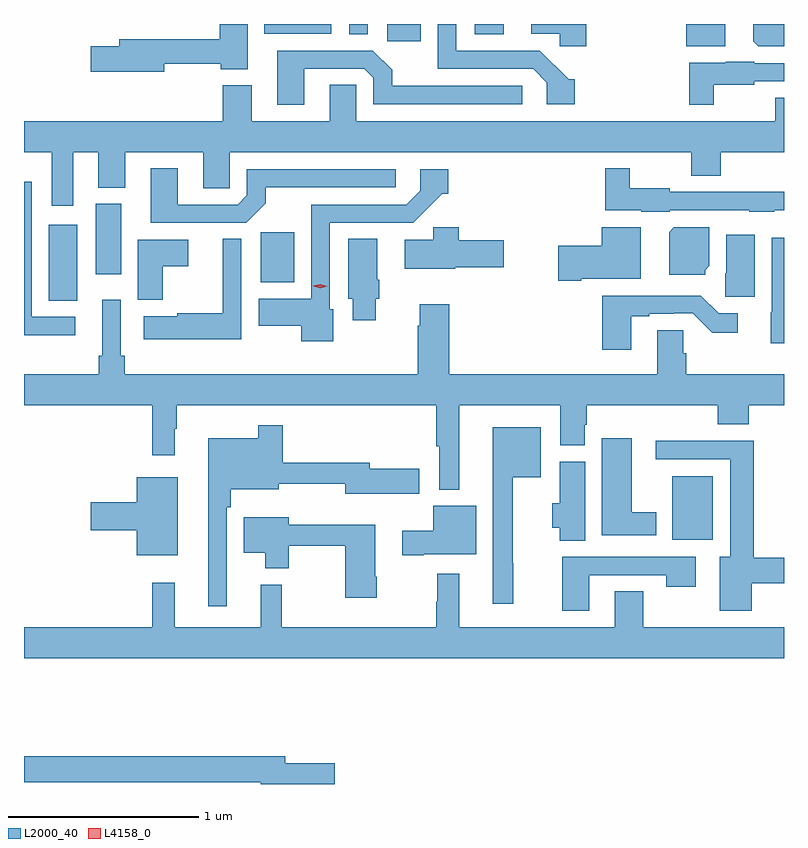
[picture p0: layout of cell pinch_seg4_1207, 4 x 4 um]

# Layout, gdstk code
import gdstk
lib = gdstk.Library(unit=1e-6, precision=1e-09)
def R(c, l, rs):  # rectangles x0, y0, x1, y1
    for r in rs: c.add(gdstk.rectangle(r[:2], r[2:], *l))
def P(c, l, *ps):  # polygons
    for p in ps: c.add(gdstk.Polygon(p, *l))
L2000_40 = (2000, 40)
L4158_0 = (4158, 0)

pinch_seg4_1207 = lib.new_cell('pinch_seg4_1207')
R(pinch_seg4_1207, L2000_40, [(316.916,806.768,317.128,807.103), (313.634,808.027,313.783,808.426), (314.75,808.124,314.926,808.388), (313.88,808.167,314.014,808.536), (316.988,809.366,317.194,809.483), (315.416,809.393,315.592,809.483), (315.216,809.428,315.312,809.483), (315.875,809.428,316.027,809.483), (314.768,809.432,315.121,809.483)])
P(pinch_seg4_1207, L2000_40, [(317.503,809.483),(317.342,809.483),(317.342,809.392),(317.368,809.366),(317.503,809.366)],
  [(316.462,809.483),(316.173,809.483),(316.173,809.432),(316.323,809.432),(316.323,809.367),(316.462,809.367)],
  [(314.242,809.274),(314.539,809.274),(314.539,809.246),(314.68,809.246),(314.68,809.483),(314.534,809.483),(314.534,809.402),(314.003,809.402),(314.003,809.366),(313.854,809.366),(313.854,809.231),(314.242,809.231)],
  [(316.402,809.191),(316.37,809.191),(316.218,809.343),(315.777,809.343),(315.777,809.483),(315.681,809.483),(315.681,809.247),(316.182,809.247),(316.254,809.175),(316.254,809.061),(316.402,809.061)],
  [(314.977,809.247),(315.294,809.247),(315.342,809.199),(315.342,809.061),(316.126,809.061),(316.126,809.157),(315.441,809.157),(315.441,809.241),(315.339,809.343),(314.837,809.343),(314.837,809.058),(314.977,809.058)],
  [(317.134,809.162),(317.346,809.162),(317.346,809.181),(317.503,809.181),(317.503,809.277),(317.346,809.277),(317.346,809.284),(317.196,809.284),(317.196,809.278),(317.005,809.278),(317.005,809.057),(317.134,809.057)],
  [(313.762,808.808),(313.895,808.808),(313.895,808.621),(314.035,808.621),(314.035,808.808),(314.447,808.808),(314.447,808.618),(314.586,808.618),(314.586,808.808),(317.014,808.808),(317.014,808.684),(317.169,808.684),(317.169,808.808),(317.503,808.808),(317.503,809.096),(317.458,809.096),(317.458,808.972),(315.252,808.972),(315.252,809.162),(315.113,809.162),(315.113,808.972),(314.701,808.972),(314.701,809.161),(314.549,809.161),(314.549,808.972),(313.503,808.972),(313.503,808.808),(313.649,808.808),(313.649,808.527),(313.762,808.527)],
  [(314.775,808.539),(314.775,808.623),(315.46,808.623),(315.46,808.719),(314.676,808.719),(314.676,808.581),(314.628,808.533),(314.311,808.533),(314.311,808.723),(314.171,808.723),(314.171,808.437),(314.673,808.437)],
  [(316.902,808.503),(317.319,808.503),(317.319,808.496),(317.451,808.496),(317.451,808.502),(317.503,808.502),(317.503,808.601),(317.319,808.601),(317.319,808.599),(316.902,808.599),(316.902,808.618),(316.69,808.618),(316.69,808.723),(316.561,808.723),(316.561,808.502),(316.752,808.502),(316.752,808.496),(316.902,808.496)],
  [(315.13,807.981),(315.111,807.981),(315.111,808.437),(315.552,808.437),(315.704,808.589),(315.736,808.589),(315.736,808.719),(315.588,808.719),(315.588,808.605),(315.516,808.533),(315.015,808.533),(315.015,808.036),(314.739,808.036),(314.739,807.896),(314.962,807.896),(314.962,807.812),(315.13,807.812)],
  [(313.774,807.942),(313.545,807.942),(313.545,808.654),(313.503,808.654),(313.503,807.845),(313.774,807.845)],
  [(317.088,808.188),(317.11,808.21),(317.11,808.414),(316.924,808.414),(316.898,808.388),(316.898,808.163),(317.088,808.163)],
  [(315.774,808.202),(316.027,808.202),(316.027,808.344),(315.791,808.344),(315.791,808.413),(315.657,808.413),(315.657,808.348),(315.507,808.348),(315.507,808.196),(315.774,808.196)],
  [(316.437,808.142),(316.75,808.142),(316.75,808.412),(316.544,808.412),(316.544,808.316),(316.314,808.316),(316.314,808.133),(316.437,808.133)],
  [(317.35,808.375),(317.198,808.375),(317.198,808.17),(317.194,808.17),(317.194,808.047),(317.35,808.047)],
  [(317.503,808.357),(317.438,808.357),(317.438,807.966),(317.432,807.966),(317.432,807.804),(317.503,807.804)],
  [(314.646,808.352),(314.549,808.352),(314.549,807.96),(314.31,807.96),(314.31,807.946),(314.133,807.946),(314.133,807.824),(314.646,807.824)],
  [(315.355,808.038),(315.374,808.038),(315.374,808.138),(315.361,808.138),(315.361,808.352),(315.209,808.352),(315.209,808.038),(315.233,808.038),(315.233,807.923),(315.355,807.923)],
  [(314.232,808.208),(314.368,808.208),(314.368,808.348),(314.102,808.348),(314.102,808.031),(314.232,808.031)],
  [(316.699,807.945),(316.795,807.945),(316.795,807.957),(316.922,807.957),(316.922,807.96),(317.022,807.96),(317.125,807.858),(317.26,807.858),(317.26,807.96),(317.16,807.96),(317.066,808.054),(316.547,808.054),(316.547,807.768),(316.699,807.768)],
  [(315.793,807.476),(316.325,807.476),(316.325,807.265),(316.453,807.265),(316.453,807.375),(316.466,807.375),(316.466,807.476),(317.153,807.476),(317.153,807.377),(317.318,807.377),(317.318,807.476),(317.503,807.476),(317.503,807.64),(316.988,807.64),(316.988,807.75),(316.974,807.75),(316.974,807.872),(316.835,807.872),(316.835,807.64),(315.74,807.64),(315.74,808.009),(315.587,808.009),(315.587,807.896),(315.575,807.896),(315.575,807.64),(314.033,807.64),(314.033,807.736),(314.013,807.736),(314.013,808.033),(313.916,808.033),(313.916,807.736),(313.897,807.736),(313.897,807.64),(313.503,807.64),(313.503,807.476),(314.179,807.476),(314.179,807.213),(314.296,807.213),(314.296,807.353),(314.308,807.353),(314.308,807.476),(315.672,807.476),(315.672,807.26),(315.689,807.26),(315.689,807.032),(315.793,807.032)],
  [(314.571,806.939),(314.591,806.939),(314.591,807.035),(314.845,807.035),(314.845,807.064),(315.194,807.064),(315.194,807.011),(315.583,807.011),(315.583,807.141),(315.322,807.141),(315.322,807.175),(314.864,807.175),(314.864,807.37),(314.736,807.37),(314.736,807.304),(314.474,807.304),(314.474,806.418),(314.571,806.418)],
  [(316.078,806.645),(316.075,806.645),(316.075,807.098),(316.222,807.098),(316.222,807.361),(315.971,807.361),(315.971,806.433),(316.078,806.433)],
  [(316.831,806.914),(316.702,806.914),(316.702,807.304),(316.544,807.304),(316.544,806.792),(316.831,806.792)],
  [(317.332,806.54),(317.503,806.54),(317.503,806.675),(317.345,806.675),(317.345,807.29),(316.827,807.29),(316.827,807.192),(317.219,807.192),(317.219,806.68),(317.165,806.68),(317.165,806.394),(317.332,806.394)],
  [(316.456,807.18),(316.322,807.18),(316.322,806.961),(316.283,806.961),(316.283,806.831),(316.322,806.831),(316.322,806.764),(316.456,806.764)],
  [(314.311,807.097),(314.096,807.097),(314.096,806.966),(313.854,806.966),(313.854,806.819),(314.096,806.819),(314.096,806.687),(314.311,806.687)],
  [(315.607,806.693),(315.883,806.693),(315.883,806.947),(315.656,806.947),(315.656,806.815),(315.495,806.815),(315.495,806.686),(315.607,806.686)],
  [(315.36,806.575),(315.352,806.575),(315.352,806.847),(314.896,806.847),(314.896,806.887),(314.66,806.887),(314.66,806.699),(314.774,806.699),(314.774,806.618),(314.896,806.618),(314.896,806.736),(315.194,806.736),(315.194,806.463),(315.36,806.463)],
  [(316.477,806.583),(316.882,806.583),(316.882,806.52),(317.038,806.52),(317.038,806.679),(316.337,806.679),(316.337,806.394),(316.477,806.394)],
  [(317.503,806.308),(316.761,806.308),(316.761,806.498),(316.613,806.498),(316.613,806.308),(315.793,806.308),(315.793,806.59),(315.679,806.59),(315.679,806.441),(315.672,806.441),(315.672,806.308),(314.86,806.308),(314.86,806.533),(314.75,806.533),(314.75,806.308),(314.297,806.308),(314.297,806.542),(314.179,806.542),(314.179,806.308),(313.503,806.308),(313.503,806.144),(317.503,806.144)],
  [(315.139,805.592),(314.878,805.592),(314.878,805.628),(313.503,805.628),(313.503,805.492),(314.75,805.492),(314.75,805.483),(315.139,805.483)])
P(pinch_seg4_1207, L4158_0, [(315.062,808.093),(315.027,808.104),(315.026,808.105),(315.027,808.105),(315.063,808.113),(315.099,808.102),(315.099,808.102),(315.099,808.102)])

lib.write_gds('pinch_seg4_1207.gds')
